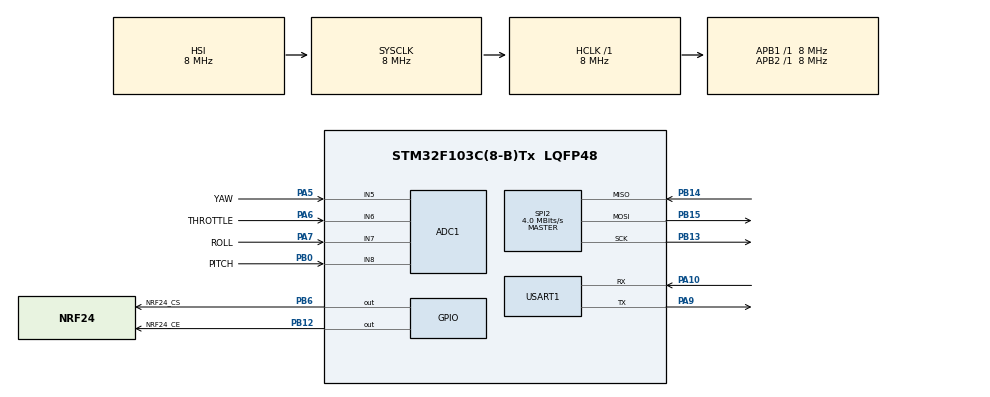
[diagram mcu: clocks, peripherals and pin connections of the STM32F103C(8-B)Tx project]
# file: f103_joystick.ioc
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ADC1.Channel-0\#ChannelRegularConversion=ADC_CHANNEL_5
ADC1.Channel-1\#ChannelRegularConversion=ADC_CHANNEL_6
ADC1.Channel-2\#ChannelRegularConversion=ADC_CHANNEL_7
ADC1.Channel-3\#ChannelRegularConversion=ADC_CHANNEL_8
ADC1.ContinuousConvMode=ENABLE
ADC1.NbrOfConversion=4
ADC1.NbrOfConversionFlag=1
ADC1.Rank-0\#ChannelRegularConversion=1
ADC1.Rank-1\#ChannelRegularConversion=2
ADC1.Rank-2\#ChannelRegularConversion=3
ADC1.Rank-3\#ChannelRegularConversion=4
ADC1.SamplingTime-0\#ChannelRegularConversion=ADC_SAMPLETIME_239CYCLES_5
ADC1.SamplingTime-1\#ChannelRegularConversion=ADC_SAMPLETIME_239CYCLES_5
ADC1.SamplingTime-2\#ChannelRegularConversion=ADC_SAMPLETIME_239CYCLES_5
ADC1.SamplingTime-3\#ChannelRegularConversion=ADC_SAMPLETIME_239CYCLES_5
ADC1.master=1
Dma.ADC1.0.Direction=DMA_PERIPH_TO_MEMORY
Dma.ADC1.0.Instance=DMA1_Channel1
Dma.ADC1.0.MemDataAlignment=DMA_MDATAALIGN_WORD
Dma.ADC1.0.MemInc=DMA_MINC_ENABLE
Dma.ADC1.0.Mode=DMA_CIRCULAR
Dma.ADC1.0.PeriphDataAlignment=DMA_PDATAALIGN_WORD
Dma.ADC1.0.PeriphInc=DMA_PINC_DISABLE
Dma.ADC1.0.Priority=DMA_PRIORITY_LOW
Dma.Request0=ADC1
Mcu.Family=STM32F1
Mcu.Name=STM32F103C(8-B)Tx
Mcu.Package=LQFP48
NVIC.DMA1_Channel1_IRQn=true\:0\:0\:false\:false\:true\:false\:true\:true
NVIC.PriorityGroup=NVIC_PRIORITYGROUP_4
PA10.Mode=Asynchronous
PA10.Signal=USART1_RX
PA13.Mode=Serial_Wire
PA13.Signal=SYS_JTMS-SWDIO
PA14.Mode=Serial_Wire
PA14.Signal=SYS_JTCK-SWCLK
PA5.GPIO_Label=YAW
PA5.Signal=ADCx_IN5
PA6.GPIO_Label=THROTTLE
PA6.Signal=ADCx_IN6
PA7.GPIO_Label=ROLL
PA7.Signal=ADCx_IN7
PA9.Mode=Asynchronous
PA9.Signal=USART1_TX
PB0.GPIO_Label=PITCH
PB0.Signal=ADCx_IN8
PB12.GPIO_Label=NRF24_CE
PB12.Signal=GPIO_Output
PB13.Mode=Full_Duplex_Master
PB13.Signal=SPI2_SCK
PB14.Mode=Full_Duplex_Master
PB14.Signal=SPI2_MISO
PB15.Mode=Full_Duplex_Master
PB15.Signal=SPI2_MOSI
PB6.GPIO_Label=NRF24_CS
PB6.Signal=GPIO_Output
PD0-OSC_IN.Mode=HSE-External-Oscillator
PD0-OSC_IN.Signal=RCC_OSC_IN
PD1-OSC_OUT.Mode=HSE-External-Oscillator
PD1-OSC_OUT.Signal=RCC_OSC_OUT
ProjectManager.HeapSize=0x200
ProjectManager.StackSize=0x400
ProjectManager.TargetToolchain=STM32CubeIDE
RCC.ADCPresc=RCC_ADCPCLK2_DIV6
RCC.AHBFreq_Value=8000000
RCC.APB1Freq_Value=8000000
RCC.APB1TimFreq_Value=8000000
RCC.APB2Freq_Value=8000000
RCC.APB2TimFreq_Value=8000000
RCC.HCLKFreq_Value=8000000
RCC.PLLMUL=RCC_PLL_MUL16
RCC.SYSCLKFreq_VALUE=8000000
RCC.USBFreq_Value=64000000
SH.ADCx_IN5.0=ADC1_IN5,IN5
SH.ADCx_IN6.0=ADC1_IN6,IN6
SH.ADCx_IN7.0=ADC1_IN7,IN7
SH.ADCx_IN8.0=ADC1_IN8,IN8
SPI2.CalculateBaudRate=4.0 MBits/s
SPI2.Direction=SPI_DIRECTION_2LINES
SPI2.Mode=SPI_MODE_MASTER
SPI2.VirtualType=VM_MASTER
USART1.VirtualMode=VM_ASYNC
board=custom

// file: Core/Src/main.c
/* USER CODE BEGIN Header */
/**
  ******************************************************************************
  * @file           : main.c
  * @brief          : Main program body
  ******************************************************************************
  * @attention
  *
  * Copyright (c) 2024 STMicroelectronics.
  * All rights reserved.
  *
  * This software is licensed under terms that can be found in the LICENSE file
  * in the root directory of this software component.
  * If no LICENSE file comes with this software, it is provided AS-IS.
  *
  ******************************************************************************
  */
/* USER CODE END Header */
#include "main.h"

/* USER CODE BEGIN Includes */
#include "nRF24l01.h"
#include <stdio.h>
#include <string.h>

/* USER CODE END Includes */

ADC_HandleTypeDef hadc1;
DMA_HandleTypeDef hdma_adc1;

SPI_HandleTypeDef hspi2;

UART_HandleTypeDef huart1;

/* USER CODE BEGIN PV */

uint32_t xVal = 0;
uint32_t yVal = 0;
uint32_t pitch = 0;
uint32_t roll = 0;

/* USER CODE END PV */

void SystemClock_Config(void);
static void MX_GPIO_Init(void);
static void MX_DMA_Init(void);
static void MX_ADC1_Init(void);
static void MX_SPI2_Init(void);
static void MX_USART1_UART_Init(void);

int main(void)
{

  /* MCU Configuration--------------------------------------------------------*/

  /* Reset of all peripherals, Initializes the Flash interface and the Systick. */
  HAL_Init();

  /* Configure the system clock */
  SystemClock_Config();

  /* Initialize all configured peripherals */
  MX_GPIO_Init();
  MX_DMA_Init();
  MX_ADC1_Init();
  MX_SPI2_Init();
  MX_USART1_UART_Init();
  /* USER CODE BEGIN 2 */
  uint8_t txAddress[5] = {0xEE, 0xDD, 0xCC, 0xBB, 0xAA};

  nRF24Init();
  nRF24TxMode(txAddress, 10);

  uint32_t adcReading[4];
  HAL_ADC_Start_DMA(&hadc1, adcReading, 4);

  char buf[100];

  sprintf(buf, "starting loop...\r\n");
  HAL_UART_Transmit(&huart1, (uint8_t*)buf, strlen(buf), HAL_MAX_DELAY);

  /* USER CODE END 2 */

  /* Infinite loop */
  while (1)
  {

    /* USER CODE BEGIN 3 */
    xVal = adcReading[0];
    yVal = adcReading[1];
    pitch = adcReading[2];
    roll = adcReading[3];

    uint8_t txData[16];

    // Throttle
    txData[0] = (adcReading[0] & 0xFF000000) >> 24;
    txData[1] = (adcReading[0] & 0x00FF0000) >> 16;
    txData[2] = (adcReading[0] & 0x0000FF00) >> 8;
    txData[3] = (adcReading[0] & 0x000000FF);

    // Yaw
    txData[4] = (adcReading[1] & 0xFF000000) >> 24;
    txData[5] = (adcReading[1] & 0x00FF0000) >> 16;
    txData[6] = (adcReading[1] & 0x0000FF00) >> 8;
    txData[7] = (adcReading[1] & 0x000000FF);

    // Pitch
    txData[8] = (adcReading[2] & 0xFF000000) >> 24;
    txData[9] = (adcReading[2] & 0x00FF0000) >> 16;
    txData[10] = (adcReading[2] & 0x0000FF00) >> 8;
    txData[11] = (adcReading[2] & 0x000000FF);

    // Roll
    txData[12] = (adcReading[3] & 0xFF000000) >> 24;
    txData[13] = (adcReading[3] & 0x00FF0000) >> 16;
    txData[14] = (adcReading[3] & 0x0000FF00) >> 8;
    txData[15] = (adcReading[3] & 0x000000FF);

    sprintf(buf, "throttle:%lu,yaw:%lu,pitch:%lu,roll:%lu\r\n", xVal, yVal, pitch, roll);
    HAL_UART_Transmit(&huart1, (uint8_t*)buf, strlen(buf), 1000);

    if (nRF24Transmit(txData, 16) != 0) {
      sprintf(buf, "ERROR: transmission failed!\r\n");
      HAL_UART_Transmit(&huart1, (uint8_t*)buf, strlen(buf), HAL_MAX_DELAY);
    }

  }
  /* USER CODE END 3 */
}

void SystemClock_Config(void)
{
  RCC_OscInitTypeDef RCC_OscInitStruct = {0};
  RCC_ClkInitTypeDef RCC_ClkInitStruct = {0};
  RCC_PeriphCLKInitTypeDef PeriphClkInit = {0};

  /** Initializes the RCC Oscillators according to the specified parameters
  * in the RCC_OscInitTypeDef structure.
  */
  RCC_OscInitStruct.OscillatorType = RCC_OSCILLATORTYPE_HSI;
  RCC_OscInitStruct.HSIState = RCC_HSI_ON;
  RCC_OscInitStruct.HSICalibrationValue = RCC_HSICALIBRATION_DEFAULT;
  RCC_OscInitStruct.PLL.PLLState = RCC_PLL_NONE;
  if (HAL_RCC_OscConfig(&RCC_OscInitStruct) != HAL_OK)
  {
    Error_Handler();
  }

  /** Initializes the CPU, AHB and APB buses clocks
  */
  RCC_ClkInitStruct.ClockType = RCC_CLOCKTYPE_HCLK|RCC_CLOCKTYPE_SYSCLK
                              |RCC_CLOCKTYPE_PCLK1|RCC_CLOCKTYPE_PCLK2;
  RCC_ClkInitStruct.SYSCLKSource = RCC_SYSCLKSOURCE_HSI;
  RCC_ClkInitStruct.AHBCLKDivider = RCC_SYSCLK_DIV1;
  RCC_ClkInitStruct.APB1CLKDivider = RCC_HCLK_DIV1;
  RCC_ClkInitStruct.APB2CLKDivider = RCC_HCLK_DIV1;

  if (HAL_RCC_ClockConfig(&RCC_ClkInitStruct, FLASH_LATENCY_0) != HAL_OK)
  {
    Error_Handler();
  }
  PeriphClkInit.PeriphClockSelection = RCC_PERIPHCLK_ADC;
  PeriphClkInit.AdcClockSelection = RCC_ADCPCLK2_DIV6;
  if (HAL_RCCEx_PeriphCLKConfig(&PeriphClkInit) != HAL_OK)
  {
    Error_Handler();
  }
}

static void MX_ADC1_Init(void)
{

  ADC_ChannelConfTypeDef sConfig = {0};

  /** Common config
  */
  hadc1.Instance = ADC1;
  hadc1.Init.ScanConvMode = ADC_SCAN_ENABLE;
  hadc1.Init.ContinuousConvMode = ENABLE;
  hadc1.Init.DiscontinuousConvMode = DISABLE;
  hadc1.Init.ExternalTrigConv = ADC_SOFTWARE_START;
  hadc1.Init.DataAlign = ADC_DATAALIGN_RIGHT;
  hadc1.Init.NbrOfConversion = 4;
  if (HAL_ADC_Init(&hadc1) != HAL_OK)
  {
    Error_Handler();
  }

  /** Configure Regular Channel
  */
  sConfig.Channel = ADC_CHANNEL_5;
  sConfig.Rank = ADC_REGULAR_RANK_1;
  sConfig.SamplingTime = ADC_SAMPLETIME_239CYCLES_5;
  if (HAL_ADC_ConfigChannel(&hadc1, &sConfig) != HAL_OK)
  {
    Error_Handler();
  }

  /** Configure Regular Channel
  */
  sConfig.Channel = ADC_CHANNEL_6;
  sConfig.Rank = ADC_REGULAR_RANK_2;
  if (HAL_ADC_ConfigChannel(&hadc1, &sConfig) != HAL_OK)
  {
    Error_Handler();
  }

  /** Configure Regular Channel
  */
  sConfig.Channel = ADC_CHANNEL_7;
  sConfig.Rank = ADC_REGULAR_RANK_3;
  if (HAL_ADC_ConfigChannel(&hadc1, &sConfig) != HAL_OK)
  {
    Error_Handler();
  }

  /** Configure Regular Channel
  */
  sConfig.Channel = ADC_CHANNEL_8;
  sConfig.Rank = ADC_REGULAR_RANK_4;
  if (HAL_ADC_ConfigChannel(&hadc1, &sConfig) != HAL_OK)
  {
    Error_Handler();
  }

}

static void MX_SPI2_Init(void)
{

  /* SPI2 parameter configuration*/
  hspi2.Instance = SPI2;
  hspi2.Init.Mode = SPI_MODE_MASTER;
  hspi2.Init.Direction = SPI_DIRECTION_2LINES;
  hspi2.Init.DataSize = SPI_DATASIZE_8BIT;
  hspi2.Init.CLKPolarity = SPI_POLARITY_LOW;
  hspi2.Init.CLKPhase = SPI_PHASE_1EDGE;
  hspi2.Init.NSS = SPI_NSS_SOFT;
  hspi2.Init.BaudRatePrescaler = SPI_BAUDRATEPRESCALER_2;
  hspi2.Init.FirstBit = SPI_FIRSTBIT_MSB;
  hspi2.Init.TIMode = SPI_TIMODE_DISABLE;
  hspi2.Init.CRCCalculation = SPI_CRCCALCULATION_DISABLE;
  hspi2.Init.CRCPolynomial = 10;
  if (HAL_SPI_Init(&hspi2) != HAL_OK)
  {
    Error_Handler();
  }

}

static void MX_USART1_UART_Init(void)
{

  huart1.Instance = USART1;
  huart1.Init.BaudRate = 115200;
  huart1.Init.WordLength = UART_WORDLENGTH_8B;
  huart1.Init.StopBits = UART_STOPBITS_1;
  huart1.Init.Parity = UART_PARITY_NONE;
  huart1.Init.Mode = UART_MODE_TX_RX;
  huart1.Init.HwFlowCtl = UART_HWCONTROL_NONE;
  huart1.Init.OverSampling = UART_OVERSAMPLING_16;
  if (HAL_UART_Init(&huart1) != HAL_OK)
  {
    Error_Handler();
  }

}

static void MX_DMA_Init(void)
{

  /* DMA controller clock enable */
  __HAL_RCC_DMA1_CLK_ENABLE();

  /* DMA interrupt init */
  /* DMA1_Channel1_IRQn interrupt configuration */
  HAL_NVIC_SetPriority(DMA1_Channel1_IRQn, 0, 0);
  HAL_NVIC_EnableIRQ(DMA1_Channel1_IRQn);

}

static void MX_GPIO_Init(void)
{
  GPIO_InitTypeDef GPIO_InitStruct = {0};

  /* GPIO Ports Clock Enable */
  __HAL_RCC_GPIOD_CLK_ENABLE();
  __HAL_RCC_GPIOA_CLK_ENABLE();
  __HAL_RCC_GPIOB_CLK_ENABLE();

  /*Configure GPIO pin Output Level */
  HAL_GPIO_WritePin(GPIOB, NRF24_CE_Pin|NRF24_CS_Pin, GPIO_PIN_RESET);

  /*Configure GPIO pins : NRF24_CE_Pin NRF24_CS_Pin */
  GPIO_InitStruct.Pin = NRF24_CE_Pin|NRF24_CS_Pin;
  GPIO_InitStruct.Mode = GPIO_MODE_OUTPUT_PP;
  GPIO_InitStruct.Pull = GPIO_NOPULL;
  GPIO_InitStruct.Speed = GPIO_SPEED_FREQ_LOW;
  HAL_GPIO_Init(GPIOB, &GPIO_InitStruct);

}

/* USER CODE BEGIN 4 */
int _write(int file, char *ptr, int len)
{
  (void)file;
  int DataIdx;

  for (DataIdx = 0; DataIdx < len; DataIdx++)
  {
    ITM_SendChar(*ptr++);
  }
  return len;
}
/* USER CODE END 4 */

void Error_Handler(void)
{
  __disable_irq();
  while (1)
  {
  }
}
